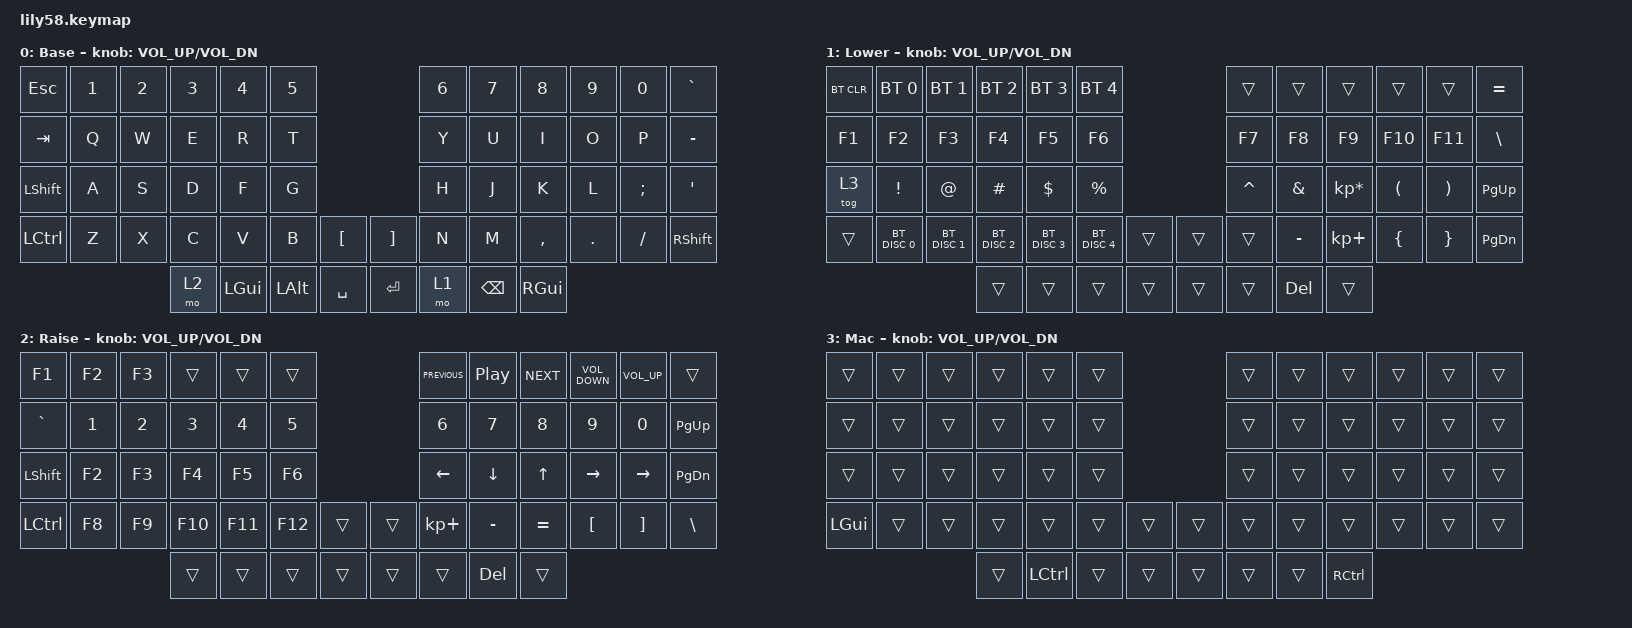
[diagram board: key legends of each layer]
/*
 * Copyright (c) 2020 The ZMK Contributors
 *
 * SPDX-License-Identifier: MIT
 */

#include <behaviors.dtsi>
#include <dt-bindings/zmk/bt.h>
#include <dt-bindings/zmk/keys.h>

/ {
    keymap {
        compatible = "zmk,keymap";

        default_layer {
            // ------------------------------------------------------------------------------------------------------------
            // |  ESC  |  1  |  2  |  3   |  4   |  5   |                   |  6   |  7    |  8    |  9   |   0   |   `   |
            // |  TAB  |  Q  |  W  |  E   |  R   |  T   |                   |  Y   |  U    |  I    |  O   |   P   |   -   |
            // |  CTRL |  A  |  S  |  D   |  F   |  G   |                   |  H   |  J    |  K    |  L   |   ;   |   '   |
            // | SHIFT |  Z  |  X  |  C   |  V   |  B   |   "["  |  |  "]"  |  N   |  M    |  ,    |  .   |   /   | SHIFT |
            //                     | ALT  | GUI  | LOWER|  SPACE |  | ENTER | RAISE| BSPC  | GUI   |

            display-name = "Base";
            bindings = <
&kp ESC           &kp N1  &kp N2  &kp N3  &kp N4    &kp N5                               &kp N6  &kp N7    &kp N8     &kp N9   &kp N0    &kp GRAVE
&kp TAB           &kp Q   &kp W   &kp E   &kp R     &kp T                                &kp Y   &kp U     &kp I      &kp O    &kp P     &kp MINUS
&kp LEFT_SHIFT    &kp A   &kp S   &kp D   &kp F     &kp G                                &kp H   &kp J     &kp K      &kp L    &kp SEMI  &kp SQT
&kp LEFT_CONTROL  &kp Z   &kp X   &kp C   &kp V     &kp B         &kp LBKT     &kp RBKT  &kp N   &kp M     &kp COMMA  &kp DOT  &kp FSLH  &kp RSHFT
                                  &mo 2   &kp LGUI  &kp LEFT_ALT  &kp SPACE    &kp RET   &mo 1   &kp BSPC  &kp RGUI
            >;

            sensor-bindings = <&inc_dec_kp C_VOL_UP C_VOL_DN>;
        };

        lower_layer {
            // ------------------------------------------------------------------------------------------------------------
            // | BTCLR | BT1 | BT2 |  BT3 |  BT4 |  BT5 |                   |      |       |       |      |       |       |
            // |  F1   |  F2 |  F3 |  F4  |  F5  |  F6  |                   |  F7  |  F8   |  F9   |  F10 |  F11  |  F12  |
            // |   `   |  !  |  @  |  #   |  $   |  %   |                   |  ^   |  &    |  *    |  (   |   )   |   ~   |
            // |       |     |     |      |      |      |        |  |       |      |  _    |  +    |  {   |   }   |  "|"  |
            //                     |      |      |      |        |  |       |      |       |       |

            display-name = "Lower";
            bindings = <
&bt BT_CLR  &bt BT_SEL 0   &bt BT_SEL 1   &bt BT_SEL 2   &bt BT_SEL 3   &bt BT_SEL 4                     &trans     &trans     &trans           &trans    &trans    &kp EQUAL
&kp F1      &kp F2         &kp F3         &kp F4         &kp F5         &kp F6                           &kp F7     &kp F8     &kp F9           &kp F10   &kp F11   &kp BACKSLASH
&tog 3      &kp EXCL       &kp AT         &kp HASH       &kp DOLLAR     &kp PRCNT                        &kp CARET  &kp AMPS   &kp KP_MULTIPLY  &kp LPAR  &kp RPAR  &kp PAGE_UP
&trans      &bt BT_DISC 0  &bt BT_DISC 1  &bt BT_DISC 2  &bt BT_DISC 3  &bt BT_DISC 4  &trans    &trans  &trans     &kp MINUS  &kp KP_PLUS      &kp LBRC  &kp RBRC  &kp PAGE_DOWN
                                          &trans         &trans         &trans         &trans    &trans  &trans     &kp DEL    &trans
            >;

            sensor-bindings = <&inc_dec_kp C_VOL_UP C_VOL_DN>;
        };

        raise_layer {
            // ------------------------------------------------------------------------------------------------------------
            // |       |     |     |      |      |      |                   |      |       |       |      |       |       |
            // |   `   |  1  |  2  |  3   |  4   |  5   |                   |  6   |   7   |   8   |  9   |   0   |       |
            // |   F1  |  F2 |  F3 |  F4  |  F5  |  F6  |                   |      |   <-  |   v   |  ^   |  ->   |       |
            // |   F7  |  F8 |  F9 |  F10 |  F11 |  F12 |        |  |       |  +   |   -   |   =   |  [   |   ]   |   \   |
            //                     |      |      |      |        |  |       |      |       |       |

            display-name = "Raise";
            bindings = <
&kp F1          &kp F2  &kp F3  &trans   &trans   &trans                     &kp C_PREVIOUS  &kp C_PP    &kp C_NEXT    &kp C_VOLUME_DOWN  &kp C_VOLUME_UP  &trans
&kp GRAVE       &kp N1  &kp N2  &kp N3   &kp N4   &kp N5                     &kp N6          &kp N7      &kp N8        &kp N9             &kp N0           &kp PG_UP
&kp LEFT_SHIFT  &kp F2  &kp F3  &kp F4   &kp F5   &kp F6                     &kp LEFT        &kp DOWN    &kp UP_ARROW  &kp RIGHT          &kp RIGHT        &kp PAGE_DOWN
&kp LCTRL       &kp F8  &kp F9  &kp F10  &kp F11  &kp F12  &trans    &trans  &kp KP_PLUS     &kp MINUS   &kp EQUAL     &kp LBKT           &kp RBKT         &kp BSLH
                                &trans   &trans   &trans   &trans    &trans  &trans          &kp DELETE  &trans
            >;

            sensor-bindings = <&inc_dec_kp C_VOL_UP C_VOL_DN>;
        };

        mac_layer {
            // ------------------------------------------------------------------------------------------------------------
            // macOS mode: swaps Ctrl <-> GUI(Cmd) so Cmd-shortcuts use the same fingers as PC Ctrl.
            // Toggle on/off with: Lower thumb (&mo 1) + left home-row pinky (Base Shift key).
            // | LGUI on pinky | ... rest transparent -> falls through to Base ... |
            // thumbs: | _ | LCTRL | _ | _ |  | _ | _ | _ | RCTRL |
            //                     (LGUI thumb -> LCTRL)              (RGUI thumb -> RCTRL)

            display-name = "Mac";
            bindings = <
&trans     &trans  &trans  &trans  &trans  &trans                    &trans  &trans     &trans  &trans  &trans  &trans
&trans     &trans  &trans  &trans  &trans  &trans                    &trans  &trans     &trans  &trans  &trans  &trans
&trans     &trans  &trans  &trans  &trans  &trans                    &trans  &trans     &trans  &trans  &trans  &trans
&kp LGUI   &trans  &trans  &trans  &trans  &trans  &trans    &trans  &trans  &trans     &trans  &trans  &trans  &trans
                           &trans  &kp LCTRL  &trans  &trans    &trans  &trans  &trans  &kp RCTRL
            >;

            sensor-bindings = <&inc_dec_kp C_VOL_UP C_VOL_DN>;
        };

        extra_1 { status = "reserved"; };

        extra_2 { status = "reserved"; };
    };
};
